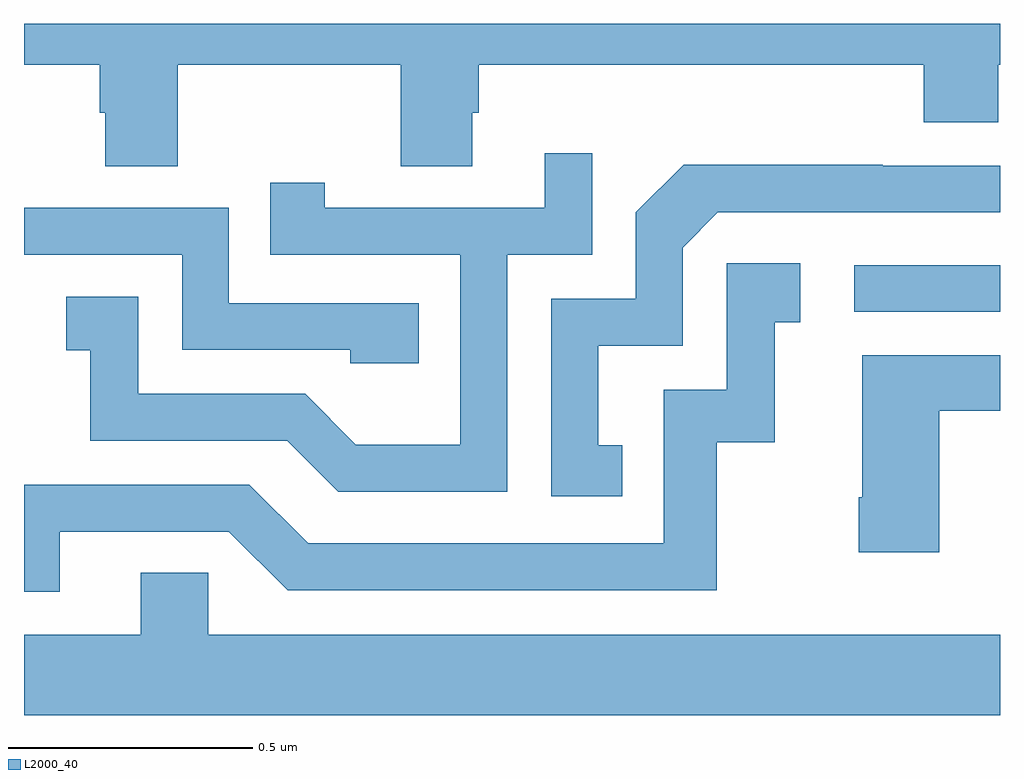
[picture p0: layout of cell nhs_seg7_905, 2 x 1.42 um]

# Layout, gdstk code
import gdstk
lib = gdstk.Library(unit=1e-6, precision=1e-09)
def R(c, l, rs):  # rectangles x0, y0, x1, y1
    for r in rs: c.add(gdstk.rectangle(r[:2], r[2:], *l))
def P(c, l, *ps):  # polygons
    for p in ps: c.add(gdstk.Polygon(p, *l))
L2000_40 = (2000, 40)

nhs_seg7_905 = lib.new_cell('nhs_seg7_905')
R(nhs_seg7_905, L2000_40, [(124.701,1033.41,125,1033.506)])
P(nhs_seg7_905, L2000_40, [(123.315,1033.916),(123.772,1033.916),(123.772,1033.708),(123.919,1033.708),(123.919,1033.818),(123.932,1033.818),(123.932,1033.916),(124.844,1033.916),(124.844,1033.799),(124.996,1033.799),(124.996,1033.916),(125,1033.916),(125,1034),(123,1034),(123,1033.916),(123.155,1033.916),(123.155,1033.818),(123.167,1033.818),(123.167,1033.708),(123.315,1033.708)],
  [(123.99,1033.527),(124.164,1033.527),(124.164,1033.735),(124.067,1033.735),(124.067,1033.623),(123.616,1033.623),(123.616,1033.675),(123.505,1033.675),(123.505,1033.527),(123.894,1033.527),(123.894,1033.138),(123.68,1033.138),(123.576,1033.242),(123.234,1033.242),(123.234,1033.441),(123.087,1033.441),(123.087,1033.331),(123.136,1033.331),(123.136,1033.146),(123.539,1033.146),(123.644,1033.041),(123.99,1033.041)],
  [(124.226,1033.137),(124.177,1033.137),(124.177,1033.341),(124.35,1033.341),(124.35,1033.542),(124.422,1033.614),(125,1033.614),(125,1033.71),(124.76,1033.71),(124.76,1033.712),(124.352,1033.712),(124.254,1033.614),(124.254,1033.437),(124.08,1033.437),(124.08,1033.032),(124.226,1033.032)],
  [(123.809,1033.428),(123.42,1033.428),(123.42,1033.623),(123,1033.623),(123,1033.527),(123.324,1033.527),(123.324,1033.332),(123.669,1033.332),(123.669,1033.305),(123.809,1033.305)],
  [(123.073,1032.96),(123.42,1032.96),(123.54,1032.84),(124.42,1032.84),(124.42,1033.143),(124.538,1033.143),(124.538,1033.389),(124.591,1033.389),(124.591,1033.51),(124.44,1033.51),(124.44,1033.251),(124.311,1033.251),(124.311,1032.936),(123.582,1032.936),(123.462,1033.056),(123,1033.056),(123,1032.837),(123.073,1032.837)],
  [(124.876,1033.207),(125,1033.207),(125,1033.321),(124.718,1033.321),(124.718,1033.03),(124.711,1033.03),(124.711,1032.918),(124.876,1032.918)],
  [(125,1032.748),(123.378,1032.748),(123.378,1032.875),(123.239,1032.875),(123.239,1032.748),(123,1032.748),(123,1032.584),(125,1032.584)])

lib.write_gds('nhs_seg7_905.gds')
